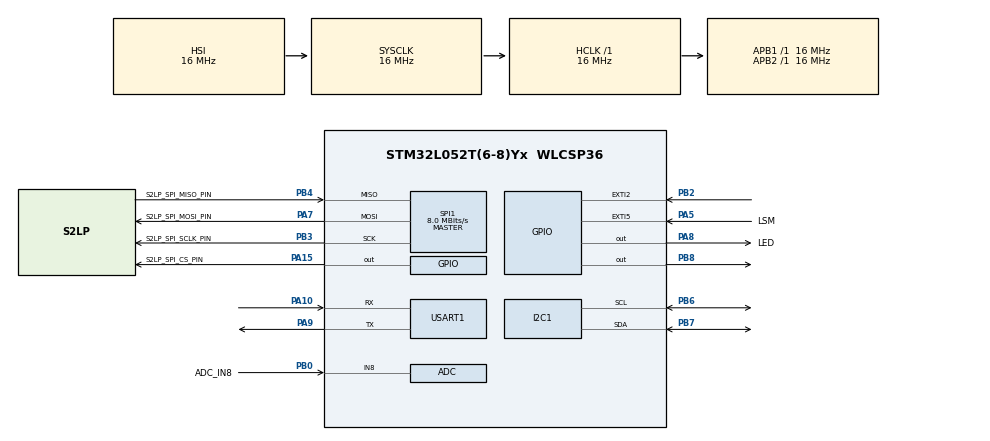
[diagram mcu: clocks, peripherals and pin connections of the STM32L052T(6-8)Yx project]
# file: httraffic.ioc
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Dma.Request0=SPI1_TX
Dma.Request1=SPI1_RX
Dma.Request2=USART1_RX
Dma.Request3=USART1_TX
Dma.SPI1_RX.1.Direction=DMA_PERIPH_TO_MEMORY
Dma.SPI1_RX.1.Instance=DMA1_Channel2
Dma.SPI1_RX.1.MemDataAlignment=DMA_MDATAALIGN_BYTE
Dma.SPI1_RX.1.MemInc=DMA_MINC_ENABLE
Dma.SPI1_RX.1.Mode=DMA_NORMAL
Dma.SPI1_RX.1.PeriphDataAlignment=DMA_PDATAALIGN_BYTE
Dma.SPI1_RX.1.PeriphInc=DMA_PINC_DISABLE
Dma.SPI1_RX.1.Priority=DMA_PRIORITY_HIGH
Dma.SPI1_TX.0.Direction=DMA_MEMORY_TO_PERIPH
Dma.SPI1_TX.0.Instance=DMA1_Channel3
Dma.SPI1_TX.0.MemDataAlignment=DMA_MDATAALIGN_BYTE
Dma.SPI1_TX.0.MemInc=DMA_MINC_ENABLE
Dma.SPI1_TX.0.Mode=DMA_NORMAL
Dma.SPI1_TX.0.PeriphDataAlignment=DMA_PDATAALIGN_BYTE
Dma.SPI1_TX.0.PeriphInc=DMA_PINC_DISABLE
Dma.SPI1_TX.0.Priority=DMA_PRIORITY_HIGH
Dma.USART1_RX.2.Direction=DMA_PERIPH_TO_MEMORY
Dma.USART1_RX.2.Instance=DMA1_Channel5
Dma.USART1_RX.2.MemDataAlignment=DMA_MDATAALIGN_BYTE
Dma.USART1_RX.2.MemInc=DMA_MINC_ENABLE
Dma.USART1_RX.2.Mode=DMA_CIRCULAR
Dma.USART1_RX.2.PeriphDataAlignment=DMA_PDATAALIGN_BYTE
Dma.USART1_RX.2.PeriphInc=DMA_PINC_DISABLE
Dma.USART1_RX.2.Priority=DMA_PRIORITY_LOW
Dma.USART1_TX.3.Direction=DMA_MEMORY_TO_PERIPH
Dma.USART1_TX.3.Instance=DMA1_Channel4
Dma.USART1_TX.3.MemDataAlignment=DMA_MDATAALIGN_BYTE
Dma.USART1_TX.3.MemInc=DMA_MINC_ENABLE
Dma.USART1_TX.3.Mode=DMA_NORMAL
Dma.USART1_TX.3.PeriphDataAlignment=DMA_PDATAALIGN_BYTE
Dma.USART1_TX.3.PeriphInc=DMA_PINC_DISABLE
Dma.USART1_TX.3.Priority=DMA_PRIORITY_HIGH
I2C1.Timing=0x00303D5B
Mcu.Family=STM32L0
Mcu.Name=STM32L052T(6-8)Yx
Mcu.Package=WLCSP36
NVIC.DMA1_Channel2_3_IRQn=true\:1\:0\:true\:false\:true\:false\:true
NVIC.DMA1_Channel4_5_6_7_IRQn=true\:0\:0\:false\:false\:true\:false\:true
NVIC.EXTI2_3_IRQn=true\:0\:0\:false\:false\:true\:true\:true
NVIC.EXTI4_15_IRQn=true\:0\:0\:false\:false\:true\:true\:true
NVIC.RTC_IRQn=true\:1\:0\:true\:false\:true\:true\:true
PA10.Mode=Asynchronous
PA10.Signal=USART1_RX
PA13.Mode=Serial_Wire
PA13.Signal=SYS_SWDIO
PA14.Mode=Serial_Wire
PA14.Signal=SYS_SWCLK
PA15.GPIO_Label=S2LP_SPI_CS_PIN
PA15.GPIO_PuPd=GPIO_PULLUP
PA15.GPIO_Speed=GPIO_SPEED_FREQ_HIGH
PA15.PinState=GPIO_PIN_SET
PA15.Signal=GPIO_Output
PA5.GPIO_Label=LSM
PA5.GPIO_ModeDefaultEXTI=GPIO_MODE_IT_RISING_FALLING
PA5.Signal=GPXTI5
PA7.GPIO_Label=S2LP_SPI_MOSI_PIN
PA7.GPIO_PuPd=GPIO_PULLUP
PA7.GPIO_Speed=GPIO_SPEED_FREQ_HIGH
PA7.Mode=Full_Duplex_Master
PA7.Signal=SPI1_MOSI
PA8.GPIO_Label=LED
PA8.Signal=GPIO_Output
PA9.Mode=Asynchronous
PA9.Signal=USART1_TX
PB0.GPIO_Label=ADC_IN8
PB0.Mode=IN8
PB0.Signal=ADC_IN8
PB2.Signal=GPXTI2
PB3.GPIO_Label=S2LP_SPI_SCLK_PIN
PB3.GPIO_PuPd=GPIO_PULLUP
PB3.GPIO_Speed=GPIO_SPEED_FREQ_HIGH
PB3.Mode=Full_Duplex_Master
PB3.Signal=SPI1_SCK
PB4.GPIO_Label=S2LP_SPI_MISO_PIN
PB4.GPIO_PuPd=GPIO_PULLUP
PB4.GPIO_Speed=GPIO_SPEED_FREQ_HIGH
PB4.Mode=Full_Duplex_Master
PB4.Signal=SPI1_MISO
PB6.Mode=I2C
PB6.Signal=I2C1_SCL
PB7.Mode=I2C
PB7.Signal=I2C1_SDA
PB8.GPIO_Speed=GPIO_SPEED_FREQ_HIGH
PB8.Signal=GPIO_Output
ProjectManager.HeapSize=0x200
ProjectManager.StackSize=0x400
ProjectManager.TargetToolchain=STM32CubeIDE
RCC.AHBFreq_Value=16000000
RCC.APB1Freq_Value=16000000
RCC.APB1TimFreq_Value=16000000
RCC.APB2Freq_Value=16000000
RCC.APB2TimFreq_Value=16000000
RCC.HCLKFreq_Value=16000000
RCC.HSI16_VALUE=16000000
RCC.HSI48_VALUE=48000000
RCC.HSI_VALUE=16000000
RCC.LSE_VALUE=32768
RCC.LptimClockSelection=RCC_LPTIM1CLKSOURCE_LSI
RCC.MSI_VALUE=2097000
RCC.PLLDIV=RCC_PLLDIV_4
RCC.PLLMUL=RCC_PLLMUL_4
RCC.SYSCLKFreq_VALUE=16000000
RCC.SYSCLKSource=RCC_SYSCLKSOURCE_HSI
RCC.VCOOutputFreq_Value=64000000
RTC.WakeUpCounter=1000
SPI1.CalculateBaudRate=8.0 MBits/s
SPI1.Direction=SPI_DIRECTION_2LINES
SPI1.Mode=SPI_MODE_MASTER
SPI1.VirtualType=VM_MASTER
USART1.VirtualMode-Asynchronous=VM_ASYNC
VP_RTC_VS_RTC_Activate.Mode=RTC_Enabled
VP_RTC_VS_RTC_Calendar.Mode=RTC_Calendar
VP_RTC_VS_RTC_WakeUp_intern.Mode=WakeUp
VP_TIM2_VS_ClockSourceINT.Mode=Internal
board=custom

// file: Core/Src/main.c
/* USER CODE BEGIN Header */
/**
 ******************************************************************************
 * @file           : main.c
 * @brief          : Main program body
 ******************************************************************************
 * @attention
 *
 * <h2><center>&copy; Copyright (c) 2019 STMicroelectronics.
 * All rights reserved.</center></h2>
 *
 * This software component is licensed by ST under BSD 3-Clause license,
 * the "License"; You may not use this file except in compliance with the
 * License. You may obtain a copy of the License at:
 *                        opensource.org/licenses/BSD-3-Clause
 *
 ******************************************************************************
 */
/* USER CODE END Header */
#include "main.h"
#include "adc.h"
#include "dma.h"
#include "i2c.h"
#include "rtc.h"
#include "spi.h"
#include "tim.h"
#include "usart.h"
#include "gpio.h"

/* USER CODE BEGIN Includes */
#include <stdio.h>
#include "HT_mcu_api.h"
#include "HT_sigfox_api.h"
#include "HT_sigfox_api.h"
#include "sig_sensors.h"
#include "filtro.h"
#include "traffic.h"

/* USER CODE END Includes */

/* USER CODE BEGIN PV */
TIM_HandleTypeDef  Tim6_Handler={.Instance=TIM6};

volatile un_system_flags_t un_system_flags;

/* USER CODE END PV */

void SystemClock_Config(void);
/* USER CODE BEGIN PFP */
void ST_Init(void);
void fnAPP_Init_Standard_Values(void);

/* USER CODE END PFP */

int main(void)
{

	/* MCU Configuration--------------------------------------------------------*/

	/* Reset of all peripherals, Initializes the Flash interface and the Systick. */
	HAL_Init();

	/* Configure the system clock */
	SystemClock_Config();

	/* Initialize all configured peripherals */
	MX_GPIO_Init();
	MX_DMA_Init();
	MX_RTC_Init();
	MX_SPI1_Init();
	MX_USART1_UART_Init();
	MX_I2C1_Init();
	MX_TIM2_Init();
	MX_ADC_Init();
	/* USER CODE BEGIN 2 */
	mcuConfig();

	/********** OPEN AND CONFIFIGURES SIGFOX LIBRARY IN RCZ2 *********************/
	/********** IN ORDER TO OPEN OTHER RCZS, SEE SIGFOX_API.h **/
	/********** BASICALLY CHANGES TO OTHER RC VALUE LIKE RCZ3 **/
	configRegion(RCZ2);

	//init_lsm303agr();
	init_bme680();
	printf("Sistema Inicializado\r\n");
	//traffic_init();

	/* USER CODE END 2 */

	/* Infinite loop */
	/* USER CODE BEGIN WHILE */

   /* Get the total measurement duration so as to sleep or wait till the
    * measurement is complete */
   uint16_t meas_period;
   int8_t rslt;
   bme680_get_profile_dur(&meas_period, &bme.gas_sensor);

   struct bme680_field_data data;

	while(1){
		user_delay_ms(meas_period); /* Delay till the measurement is ready */

		rslt = bme680_get_sensor_data(&data, &bme.gas_sensor);

		printf("T: %.2f degC, P: %.2f hPa, H %.2f %%rH ", data.temperature / 100.0f,
				data.pressure / 100.0f, data.humidity / 1000.0f );
		/* Avoid using measurements from an unstable heating setup */
		if(data.status & BME680_GASM_VALID_MSK)
			printf(", G: %d ohms", data.gas_resistance);

		printf("\r\n");

		/* Trigger the next measurement if you would like to read data out continuously */
		if (bme.gas_sensor.power_mode == BME680_FORCED_MODE) {
			rslt = bme680_set_sensor_mode(&bme.gas_sensor);
		}

		/* USER CODE END WHILE */

	}
}

void SystemClock_Config(void)
{
	RCC_OscInitTypeDef RCC_OscInitStruct = {0};
	RCC_ClkInitTypeDef RCC_ClkInitStruct = {0};
	RCC_PeriphCLKInitTypeDef PeriphClkInit = {0};

	/** Configure the main internal regulator output voltage
	 */
	__HAL_PWR_VOLTAGESCALING_CONFIG(PWR_REGULATOR_VOLTAGE_SCALE1);
	/** Initializes the RCC Oscillators according to the specified parameters
	 * in the RCC_OscInitTypeDef structure.
	 */
	RCC_OscInitStruct.OscillatorType = RCC_OSCILLATORTYPE_HSI|RCC_OSCILLATORTYPE_LSI;
	RCC_OscInitStruct.HSIState = RCC_HSI_ON;
	RCC_OscInitStruct.HSICalibrationValue = RCC_HSICALIBRATION_DEFAULT;
	RCC_OscInitStruct.LSIState = RCC_LSI_ON;
	RCC_OscInitStruct.PLL.PLLState = RCC_PLL_NONE;
	if (HAL_RCC_OscConfig(&RCC_OscInitStruct) != HAL_OK)
	{
		Error_Handler();
	}
	/** Initializes the CPU, AHB and APB buses clocks
	 */
	RCC_ClkInitStruct.ClockType = RCC_CLOCKTYPE_HCLK|RCC_CLOCKTYPE_SYSCLK
			|RCC_CLOCKTYPE_PCLK1|RCC_CLOCKTYPE_PCLK2;
	RCC_ClkInitStruct.SYSCLKSource = RCC_SYSCLKSOURCE_HSI;
	RCC_ClkInitStruct.AHBCLKDivider = RCC_SYSCLK_DIV1;
	RCC_ClkInitStruct.APB1CLKDivider = RCC_HCLK_DIV1;
	RCC_ClkInitStruct.APB2CLKDivider = RCC_HCLK_DIV1;

	if (HAL_RCC_ClockConfig(&RCC_ClkInitStruct, FLASH_LATENCY_0) != HAL_OK)
	{
		Error_Handler();
	}
	PeriphClkInit.PeriphClockSelection = RCC_PERIPHCLK_USART1|RCC_PERIPHCLK_I2C1
			|RCC_PERIPHCLK_RTC;
	PeriphClkInit.Usart1ClockSelection = RCC_USART1CLKSOURCE_PCLK2;
	PeriphClkInit.I2c1ClockSelection = RCC_I2C1CLKSOURCE_PCLK1;
	PeriphClkInit.RTCClockSelection = RCC_RTCCLKSOURCE_LSI;
	if (HAL_RCCEx_PeriphCLKConfig(&PeriphClkInit) != HAL_OK)
	{
		Error_Handler();
	}

   HAL_SYSTICK_Config( (uint32_t )HAL_RCC_GetHCLKFreq() / 1000 );
   HAL_SYSTICK_CLKSourceConfig( SYSTICK_CLKSOURCE_HCLK );

}

/* USER CODE BEGIN 4 */

//uint16_t celsius2sigtemp(){
//}

//int16_t sigtemp2celsius(){
//}

void configRegion(rc_mask RCZ) {
	ST_SFX_ERR open_err = ST_SFX_ERR_NONE;

	switch(RCZ){
	case RCZ1:
		ST_RF_API_reduce_output_power(RCZ1_OUTPUT_POWER);
		open_err = St_Sigfox_Open_RCZ(RCZ1);

		if(open_err != 0)
			printf("Open rcz error: %X\n", open_err);

		break;
	case RCZ2:
		//		ST_RF_API_reduce_output_power(RCZ2_OUTPUT_POWER);
		ST_RF_API_reduce_output_power(-32);
		open_err = St_Sigfox_Open_RCZ(RCZ2);

		if(open_err != 0)
			printf("Open rcz error: %X\n", open_err);

		break;
	case RCZ3:
		open_err = St_Sigfox_Open_RCZ(RCZ3);
		ST_RF_API_reduce_output_power(RCZ3_OUTPUT_POWER);
		if(open_err != 0)
			printf("Open rcz error: %X\n", open_err);

		break;
	case RCZ4:
		open_err = St_Sigfox_Open_RCZ(RCZ4);
		ST_RF_API_reduce_output_power(RCZ4_OUTPUT_POWER);
		if(open_err != 0)
			printf("Open rcz error: %X\n", open_err);

		break;
	case RCZ5:
		open_err = St_Sigfox_Open_RCZ(RCZ5);
		ST_RF_API_reduce_output_power(RCZ5_OUTPUT_POWER);
		if(open_err != 0)
			printf("Open rcz error: %X\n", open_err);

		break;
	case RCZ6:
		open_err = St_Sigfox_Open_RCZ(RCZ6);
		ST_RF_API_reduce_output_power(RCZ6_OUTPUT_POWER);
		if(open_err != 0)
			printf("Open rcz error: %X\n", open_err);

		break;
	case RCZ7:
		open_err = St_Sigfox_Open_RCZ(RCZ7);
		ST_RF_API_reduce_output_power(RCZ7_OUTPUT_POWER);
		if(open_err != 0)
			printf("Open rcz error: %X\n", open_err);

		break;
	default:
		break;
	}

}

//sfx_error_t sendFrame(e_uplink_frames_type_t frame) {
//
//	/********** SEND MESSAGE TO RCZ2 ****************************/
//
//	sfx_error_t err;
//
//	uint8_t DL_request = 0;
//	uint8_t DL_recvd = 0;
//
//	uint8_t i = 0;
//	uint8_t frame_len = 0;
//
//	switch(frame){
//	case DATA_INFO_2_FRAME:
//	case DATA_EVENT_2_FRAME:
//	case DATA_EVENT_1_FRAME:
//	case DATA_INFO_1_FRAME:
//		frame_len = 12;
//		err=SIGFOX_API_send_frame(uplink_frame.bytes, frame_len, downlink_frame.bytes, 3, 0);
//		break;
//
//	case DAILY_REQUEST_FRAME:
//		frame_len = 3;
//		DL_request = 1;
//		comm_timeout = 40;
//		err=SIGFOX_API_send_frame(uplink_frame.bytes, frame_len, downlink_frame.bytes, 3, 1);
//		comm_timeout = 0;
//		if( err == 0)
//			DL_recvd = 1;
//		break;
//
//	case CONFIG_REQUEST_FRAME:
//		frame_len = 2;
//		DL_request = 1;
//		comm_timeout = 40;
//		err=SIGFOX_API_send_frame(uplink_frame.bytes, frame_len, downlink_frame.bytes, 3, 1);
//		comm_timeout = 0;
//		if( err == 0)
//			DL_recvd = 1;
//		break;
//
//	case LOG_FRAME:
//		frame_len = 10;
//		err=SIGFOX_API_send_frame(uplink_frame.bytes, frame_len, downlink_frame.bytes, 3, 0);
//		break;
//
//	default:
//		break;
//	}
//	printf("!{\n\r");
//	printf("\"Label\": \"Uplink\",\n\r");
//	printf("\"State\": %u,\n\r", currentState);
//	printf("\"Timestamp\": %lu,\n\r", timestamp);
//	printf("\"Minutes\": %lu,\n\r", minutesCount);
//	printf("\"UL Message\": ");
//	printf("\"");
//	for(i = 0; i < frame_len; i++){
//		printf("%02X", uplink_frame.bytes[i]);
//	}
//	printf("\",\n\r");
//	printf("\"DL request\": %u,\n\r", DL_request);
//	printf("\"UL Error\": 0x%02X\n\r", (uint8_t)err);
//	printf("}!\n\r");
//
//
//	if(DL_recvd){
//		printf("!{\n\r");
//		printf("\"Label\": \"Downlink\",\n\r");
//		printf("\"State\": %u,\n\r", currentState);
//		printf("\"Timestamp\": %lu,\n\r", timestamp);
//		printf("\"Minutes\": %lu,\n\r", minutesCount);
//		printf("\"DL Message\": ");
//		printf("\"");
//		for(i = 0; i < 8; i++){
//			printf("%02X", downlink_frame.bytes[i]);
//		}
//		printf("\"\n\r}!\n\r");
//	}
//
//	//	FEM_Operation(FEM_TX);
//	//	HAL_Delay(500);
//	//	FEM_Operation(FEM_SHUTDOWN);
//	//	S2LPShutdownEnter();
//	//	HAL_Delay(500);
//
//	return err;
//}

sfx_error_t sendFrame(void) {

	/********** SEND MESSAGE TO RCZ2 ****************************/

	uint8_t customer_data[12]={0xAA, 0xAA, 0xAA, 0xAA, 0xBA, 0xBA, 0xBA, 0xBA, 0xBA, 0xBA, 0xBA, 0xBA};
	uint8_t customer_resp[8];
	sfx_error_t err;
	sfx_bool downlink_request = 0;

	/********** FUNCTION PARAMETERS  ****************************/
	/********** THE LAST ONE IS TO REQUEST DOWNLINK ************/
	/********** 1 - YES, 0 - NO	 ******************************/

	err=SIGFOX_API_send_frame(customer_data,sizeof(customer_data),customer_resp, 3, downlink_request);

	if(downlink_request) {
		printf("Customer resp: {");

		for(uint16_t i = 0; i < 7; i++)
			printf("0x%x,", customer_resp[i]);

		printf("0x%x}\n\r", customer_resp[7]);
	}

	printf("\nError Send Frame: %X\n", err);

	return err;
}

void mcuConfig(void) {
	ST_SFX_ERR stSfxRetErr;

	ST_Init();

	NVM_BoardDataType sfxConfiguration;
	stSfxRetErr = ST_Sigfox_Init(&sfxConfiguration, 0);

	if(stSfxRetErr != ST_SFX_ERR_NONE)
	{
		/* If an error occured reading Sigfox credentials (for example the board has never been registered)
		 * automatically set the test mode credentials. */
		if(stSfxRetErr == ST_SFX_ERR_CREDENTIALS)
		{
			sfxConfiguration.id = 0;
			memset(sfxConfiguration.pac, 0x00, 8);
			sfxConfiguration.rcz = 0;

		} else {
			printf("Error!\n");
		}
	}

	/* Calibrate RTC in case of STM32*/
#if  !(defined(BLUENRG2_DEVICE) || defined(BLUENRG1_DEVICE))
	/* The low level driver uses the internal RTC as a timer while the STM32 is in low power.
  This function calibrates the RTC using an auxiliary general purpose timer in order to
  increase its precision. */
	ST_MCU_API_TimerCalibration(500);
#endif
	printf("!{\n\r");
	printf("\"Label\": \"HT32SX\",\n\r");
	printf("\"ID\": \"%.8X\",\n\r", (unsigned int)sfxConfiguration.id);
	printf("\"PAC\": \"");
	//	printf("Sigfox iMCP HT32SX\n");

	//	printf("ID: %.8X - PAC: ", (unsigned int)sfxConfiguration.id);

	for(uint16_t i = 0; i < sizeof(sfxConfiguration.pac); i++)
	{
		printf("%.2X", sfxConfiguration.pac[i]);
	}

	printf("\",\n\r");

	/*			SET S2LP XTAL FREQUENCY														*/
	/*			DO NOT CHANGE IT																	*/

	ST_RF_API_set_xtal_freq(50000000);

	/*			SET A PROPER FREQUENCY OFFSET											*/
	/*			THIS VALUE CAN BE FOUND IN CREDENTIALS 						*/

	ST_RF_API_set_freq_offset(sfxConfiguration.freqOffset);
	printf("\"Freq. Offset\": %d,\n\r", (int)sfxConfiguration.freqOffset);

	/*			SET LBT OFFSET																		*/
	/*			THIS VALUE CAN BE FOUND IN CREDENTIALS 						*/

	ST_RF_API_set_lbt_thr_offset(sfxConfiguration.lbtOffset);
	//	printf("LBT %d \n", (int)sfxConfiguration.lbtOffset);
	printf("\"LBT\": %li,\n\r", sfxConfiguration.lbtOffset);

	/*			SET RSSI OFFSET																		*/
	/*			THIS VALUE CAN BE FOUND IN CREDENTIALS 						*/

	ST_RF_API_set_rssi_offset(sfxConfiguration.rssiOffset);
	//	printf("RSSI %d \n", (int)sfxConfiguration.rssiOffset);
	printf("\"LBT\": %d,\n\r", (int)sfxConfiguration.rssiOffset);
	printf("}!\n\r");
}

void ST_Init(void)
{
	/* Put the radio off */
	S2LPShutdownInit();
	HAL_Delay(10);
	S2LPShutdownExit();

	/* Init TIM6 which will trigger TX */
	SdkEvalTimersState(&Tim6_Handler, ENABLE);

	/* Auto detect settings, if EEPROM is available */
#if EEPROM_PRESENT == EEPROM_YES
	/* Identify the S2-LP RF board reading some production data */
	S2LPManagementIdentificationRFBoard();
#elif EEPROM_PRESENT==EEPROM_NO
	/* Set XTAL frequency with offset */
	S2LPRadioSetXtalFrequency(XTAL_FREQUENCY+XTAL_FREQUENCY_OFFSET);

	/* Set the frequency base */
	S2LPManagementSetBand(BOARD_FREQUENCY_BAND);

	/* Configure PA availability */
#if S2LP_FEM_PRESENT == S2LP_FEM_NO
	S2LPManagementSetRangeExtender(0);
#else
	S2LPManagementSetRangeExtender(1);
#endif
#endif

	/* uC IRQ config and enable */

	S2LPIRQInit();
	S2LPIRQEnable(ENABLE, 0);

	/* FEM Initialization */
	FEM_Init();

	/* TCXO Initialization */
	//TCXO_Init();

}

void fnAPP_Init_Standard_Values(void){
	traffic.u8_strong_mag_sensivity = 5;
	traffic.u8_traffic_time2transmit_first_day_hour = 30;			// 30
	traffic.u8_unit_time2transmit_first_day_hour = 1;				//minutos
	traffic.u8_traffic_time2transmit_second_day_hour = 30;           // 30
	traffic.u8_unit_time2transmit_second_day_hour = 1;				//minutos
	traffic.u8_traffic_type  = 0;									// X e Y
	traffic.u8_traffic_reset_counters = 0;                          //
	traffic.u8_traffic_threshold = 25;                              //
	traffic.u8_traffic_threshold_inferior = 15;                     //
	traffic.u32_cnt_trafegoX = 0;
	traffic.u32_cnt_trafegoY = 0;
	traffic.u32_cnt_trafegoZ = 0;
	traffic.u32_cnt_trafegoXYZ = 0;
	traffic.u8_traffic_erro = 0;
	traffic.u8_npsat = 1; // 3 amostras
	traffic.u8_sfreq = 1;  //0 = 800, 1 = 400Hz, 2 = 200, 3 = 100
	traffic.u8_tmhbuf = 6; //350 amostras
	traffic.u8_nptd = 1;   //40 amostras
	traffic.u8_vatualizacao_media_detectado = 7;  // 0 a 7 sendo que 0 -> desabilita e depois incrementa em multiplos de 50

}

/* USER CODE END 4 */

void Error_Handler(void)
{
	/* USER CODE BEGIN Error_Handler_Debug */
	/* User can add his own implementation to report the HAL error return state */
	printf("Error Handler\r\n");
	while(1);

	/* USER CODE END Error_Handler_Debug */
}

/************************ (C) COPYRIGHT STMicroelectronics *****END OF FILE****/
